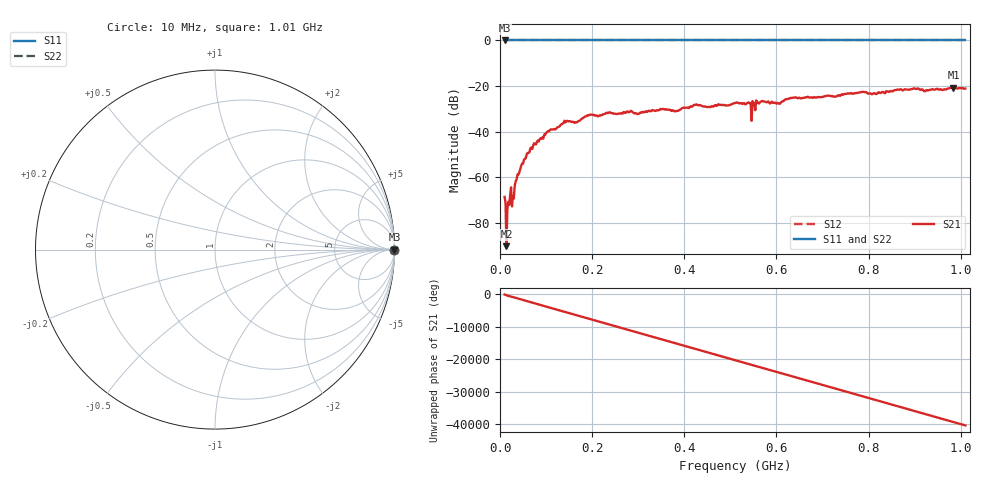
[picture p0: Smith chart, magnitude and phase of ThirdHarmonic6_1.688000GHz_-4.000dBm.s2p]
! 8/16/2025 8:15:56 PM
! C:\ANRITSUVNA\TEMP\TEMP.S2P
! CHANNEL.1
! TR.MEASUREMENT
! RAW.DATA
! RF.CORRECTION.OFF
! AVERAGING.OFF
! IF.BANDWIDTH: 5KHZ
! SWEEPTYPE:  FREQ.SWEEP(Linear)
! Reference Plane Port Info
! PORT:  PORT1  PORT2
! DISTANCE:  0  m  0  m
! TIME:  0  s  0  s
! PHASE.OFFSET:  0  deg.  0  deg.
! LOSS:  0  dB  0  dB
! REF.LOSS:  0  dB  0  dB
! REF.FREQ:  0  Hz  0  Hz
! Power Info
! POWER:  -20  dBm  -20  dBm
! EFF.POWER:  -20  dBm  -20  dBm
! SOURCE.ATTEN:  0  dB  0  dB
! TEST.ATTEN:  0  dB  0  dB
# GHZ S RI R 50.0
! FREQ.GHZ  S11RE  S11IM  S21RE  S21IM  S12RE  S12IM  S22RE  S22IM
!; PortSelection: Port_12
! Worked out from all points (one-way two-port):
!   501 points, 10 MHz to 1.01 GHz, reference 50 ohm
!   highest |S21| = -20.63 dB at 984 MHz (marker M1); lowest = -90.1 dB at 14 MHz (marker M2)
!   lowest |S11| = 0.0 dB at 10 MHz (marker M3)
!   |S11| at or under -10 dB: nowhere
!   |S22| runs from 0.0 to 0.0 dB; largest |S21 - S12| = 1.1
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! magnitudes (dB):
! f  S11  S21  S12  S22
! 10 MHz  0.0  -68.6  0.0  0.0
! 14 MHz  0.0  -90.1  0.0  0.0
! 18 MHz  0.0  -70.7  0.0  0.0
! 20 MHz  0.0  -72.0  0.0  0.0
! 30 MHz  0.0  -69.3  0.0  0.0
! 36 MHz  0.0  -60.9  0.0  0.0
! 48 MHz  0.0  -53.9  0.0  0.0
! 70 MHz  0.0  -47.5  0.0  0.0
! 108 MHz  0.0  -39.3  0.0  0.0
! 178 MHz  0.0  -34.2  0.0  0.0
! 344 MHz  0.0  -30.6  0.0  0.0
! 510 MHz  0.0  -27.5  0.0  0.0
! 540 MHz  0.0  -27.2  0.0  0.0
! 550 MHz  0.0  -27.3  0.0  0.0
! 552 MHz  0.0  -27.7  0.0  0.0
! 570 MHz  0.0  -26.5  0.0  0.0
! 604 MHz  0.0  -27.5  0.0  0.0
! 634 MHz  0.0  -25.1  0.0  0.0
! 678 MHz  0.0  -25.2  0.0  0.0
! 844 MHz  0.0  -22.6  0.0  0.0
! 984 MHz  0.0  -20.6  0.0  0.0
! 1.01 GHz  0.0  -21.1  0.0  0.0
